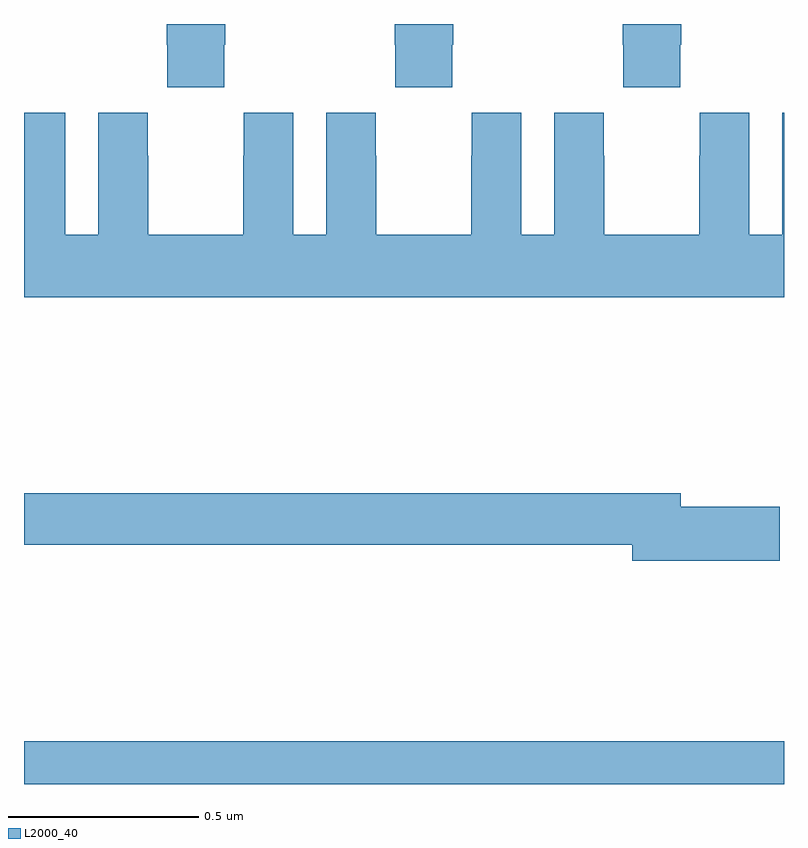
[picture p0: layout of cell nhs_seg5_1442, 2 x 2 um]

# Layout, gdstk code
import gdstk
lib = gdstk.Library(unit=1e-6, precision=1e-09)
def R(c, l, rs):  # rectangles x0, y0, x1, y1
    for r in rs: c.add(gdstk.rectangle(r[:2], r[2:], *l))
def P(c, l, *ps):  # polygons
    for p in ps: c.add(gdstk.Polygon(p, *l))
L2000_40 = (2000, 40)

nhs_seg5_1442 = lib.new_cell('nhs_seg5_1442')
R(nhs_seg5_1442, L2000_40, [(130,868.799,132,868.912)])
P(nhs_seg5_1442, L2000_40, [(130.975,870.745),(130.977,870.745),(130.977,870.633),(131.127,870.633),(131.127,870.745),(131.13,870.745),(131.13,870.799),(130.975,870.799)],
  [(131.727,870.745),(131.73,870.745),(131.73,870.799),(131.575,870.799),(131.575,870.745),(131.577,870.745),(131.577,870.633),(131.727,870.633)],
  [(130.527,870.745),(130.53,870.745),(130.53,870.799),(130.375,870.799),(130.375,870.745),(130.377,870.745),(130.377,870.633),(130.527,870.633)],
  [(132,870.565),(131.996,870.565),(131.996,870.244),(131.908,870.244),(131.908,870.565),(131.778,870.565),(131.778,870.452),(131.777,870.452),(131.777,870.244),(131.527,870.244),(131.527,870.452),(131.526,870.452),(131.526,870.565),(131.396,870.565),(131.396,870.244),(131.308,870.244),(131.308,870.565),(131.178,870.565),(131.178,870.452),(131.177,870.452),(131.177,870.244),(130.927,870.244),(130.927,870.452),(130.926,870.452),(130.926,870.565),(130.796,870.565),(130.796,870.244),(130.708,870.244),(130.708,870.565),(130.578,870.565),(130.578,870.452),(130.577,870.452),(130.577,870.244),(130.327,870.244),(130.327,870.452),(130.326,870.452),(130.326,870.565),(130.196,870.565),(130.196,870.244),(130.108,870.244),(130.108,870.565),(130,870.565),(130,870.08),(132,870.08)],
  [(131.989,869.528),(131.728,869.528),(131.728,869.564),(130,869.564),(130,869.428),(131.6,869.428),(131.6,869.386),(131.989,869.386)])

lib.write_gds('nhs_seg5_1442.gds')
